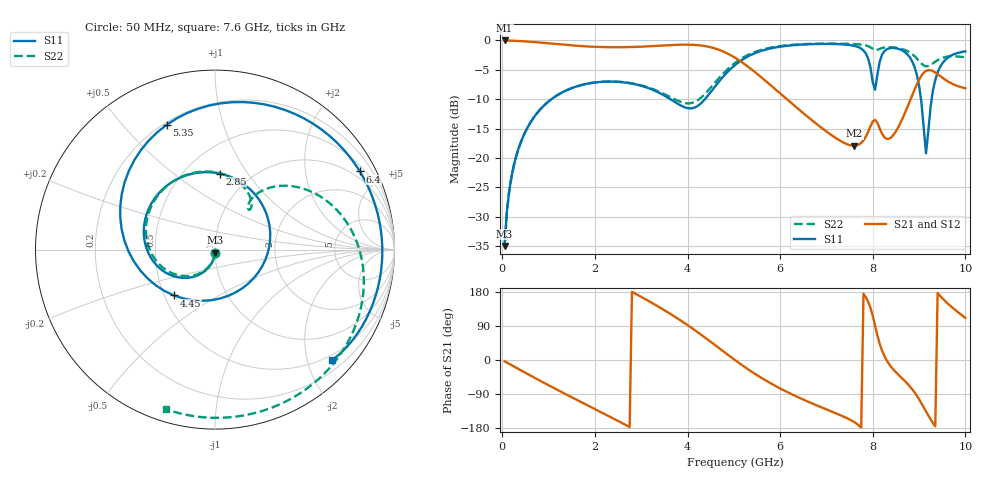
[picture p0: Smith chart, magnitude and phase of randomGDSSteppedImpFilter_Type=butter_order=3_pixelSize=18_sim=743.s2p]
! freq	dB(S11)	phase(S11)	dB(S12)	phase(S12)
!  dB(S21)	phase(S21)	dB(S22)	phase(S22)
!S-par simulation data
#  GHz  S  DB  R 50
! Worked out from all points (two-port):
!   200 points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, 50 MHz to 10 GHz, reference 50 ohm
!   highest |S21| = -0.02 dB at 50 MHz (marker M1); lowest = -17.9 dB at 7.6 GHz (marker M2)
!   |S21| within 3 dB of the highest: start of sweep to 5.039 GHz
!   lowest |S11| = -35.0 dB at 50 MHz (marker M3), VSWR 1.04, Z = 50 - j1.78 ohm
!   |S11| at or under -10 dB: start of sweep to 1.063 GHz; 3.628 GHz to 4.376 GHz (747.9 MHz wide, 18.7 % of centre); 9.04 GHz to 9.272 GHz (231.7 MHz wide, 2.53 % of centre)
!   |S22| runs from -35.0 to -0.6 dB; largest |S21 - S12| = 0
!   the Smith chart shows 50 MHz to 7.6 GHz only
!   S11 on the Smith chart (normalised r, x): 50 MHz: 1.00, -0.04; 2.85 GHz: 0.73, +0.75; 4.45 GHz: 0.56, -0.32; 5.35 GHz: 0.21, +0.66; 6.4 GHz: 0.70, +3.84; 7.6 GHz: 0.39, -2.46
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0.05  -35.00 -88.4  -0.02 -3.5  -0.02 -3.5  -35.01 -88.6
0.2  -23.14 -102.1  -0.06 -13.7  -0.06 -13.7  -23.15 -103.0
0.5  -15.52 -122.8  -0.18 -33.9  -0.18 -33.9  -15.53 -125.1
1.1  -9.78 -161.1  -0.59 -73.1  -0.59 -73.1  -9.79 -166.1
1.75  -7.53 158.9  -1.00 -113.9  -1.00 -113.9  -7.53 152.2
2.85  -7.44 86.6  -1.12 176.6  -1.12 176.6  -7.39 86.4
3.4  -8.97 39.2  -0.91 138.7  -0.91 138.7  -8.78 59.2
3.95  -11.42 -35.4  -0.73 96.3  -0.73 96.3  -10.68 49.3
4.45  -9.30 -131.8  -1.09 52.6  -1.09 52.6  -8.48 53.6
5.05  -4.04 143.3  -3.07 -2.5  -3.07 -2.5  -3.69 27.3
5.35  -2.55 111.1  -4.74 -28.1  -4.74 -28.1  -2.32 8.4
5.8  -1.36 71.1  -7.68 -61.8  -7.68 -61.8  -1.23 -19.0
6.4  -0.75 28.3  -11.73 -99.0  -11.73 -99.0  -0.69 -51.1
6.7  -0.64 9.9  -13.68 -115.2  -13.68 -115.2  -0.59 -65.6
7.6  -0.94 -43.4  -17.92 -163.8  -17.92 -163.8  -0.63 -107.1
7.95  -4.64 -74.1  -14.63 137.7  -14.63 137.7  -1.19 -124.8
8.1  -5.84 -32.7  -14.04 64.8  -14.04 64.8  -1.60 -127.5
8.35  -1.37 -58.8  -16.74 -10.5  -16.74 -10.5  -1.17 -139.2
8.9  -4.49 -124.7  -8.43 -85.1  -8.43 -85.1  -2.67 -173.3
9.15  -19.22 107.8  -5.19 -135.8  -5.19 -135.8  -4.42 -178.2
9.45  -4.59 -24.8  -6.05 169.7  -6.05 169.7  -3.15 171.0
10  -1.88 -68.8  -8.15 110.9  -8.15 110.9  -2.91 111.0
